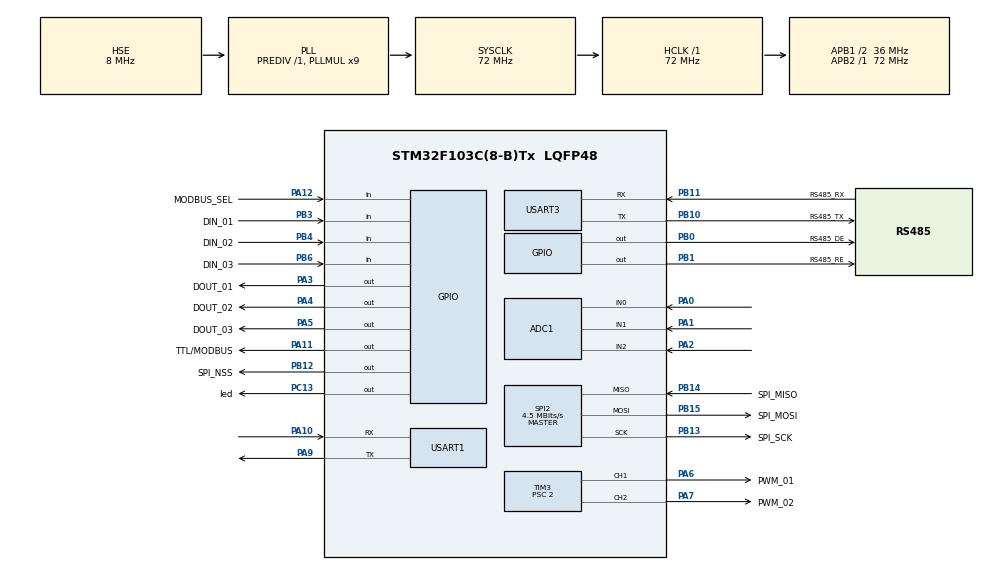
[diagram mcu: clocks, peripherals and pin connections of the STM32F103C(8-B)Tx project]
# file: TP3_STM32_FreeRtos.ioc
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ADC1.Channel-5\#ChannelRegularConversion=ADC_CHANNEL_0
ADC1.Channel-6\#ChannelRegularConversion=ADC_CHANNEL_1
ADC1.Channel-7\#ChannelRegularConversion=ADC_CHANNEL_2
ADC1.ContinuousConvMode=ENABLE
ADC1.NbrOfConversion=3
ADC1.NbrOfConversionFlag=1
ADC1.Rank-5\#ChannelRegularConversion=1
ADC1.Rank-6\#ChannelRegularConversion=2
ADC1.Rank-7\#ChannelRegularConversion=3
ADC1.SamplingTime-5\#ChannelRegularConversion=ADC_SAMPLETIME_239CYCLES_5
ADC1.SamplingTime-6\#ChannelRegularConversion=ADC_SAMPLETIME_239CYCLES_5
ADC1.SamplingTime-7\#ChannelRegularConversion=ADC_SAMPLETIME_239CYCLES_5
ADC1.master=1
Dma.ADC1.0.Direction=DMA_PERIPH_TO_MEMORY
Dma.ADC1.0.Instance=DMA1_Channel1
Dma.ADC1.0.MemDataAlignment=DMA_MDATAALIGN_HALFWORD
Dma.ADC1.0.MemInc=DMA_MINC_ENABLE
Dma.ADC1.0.Mode=DMA_CIRCULAR
Dma.ADC1.0.PeriphDataAlignment=DMA_PDATAALIGN_HALFWORD
Dma.ADC1.0.PeriphInc=DMA_PINC_DISABLE
Dma.ADC1.0.Priority=DMA_PRIORITY_LOW
Dma.Request0=ADC1
Dma.Request1=USART3_RX
Dma.USART3_RX.1.Direction=DMA_PERIPH_TO_MEMORY
Dma.USART3_RX.1.Instance=DMA1_Channel3
Dma.USART3_RX.1.MemDataAlignment=DMA_MDATAALIGN_BYTE
Dma.USART3_RX.1.MemInc=DMA_MINC_ENABLE
Dma.USART3_RX.1.Mode=DMA_CIRCULAR
Dma.USART3_RX.1.PeriphDataAlignment=DMA_PDATAALIGN_BYTE
Dma.USART3_RX.1.PeriphInc=DMA_PINC_DISABLE
Dma.USART3_RX.1.Priority=DMA_PRIORITY_HIGH
FREERTOS.HEAP_NUMBER=4
FREERTOS.Tasks01=defaultTask,-3,128,StartDefaultTask,Default,NULL,Dynamic,NULL,NULL;EnvioUart,1,128,Start_EnvioUart_Task,Default,NULL,Dynamic,NULL,NULL;ReadInputsTask,-1,128,StartReadInputsTask,Default,NULL,Dynamic,NULL,NULL;LeerADC,0,256,StartLeerADC,Default,NULL,Dynamic,NULL,NULL;LeerBMP280,-2,256,StartLeerBMP280,Default,NULL,Dynamic,NULL,NULL;LeerUART,2,384,Start_LeerUart,Default,NULL,Dynamic,NULL,NULL
FREERTOS.configTIMER_TASK_STACK_DEPTH=128
FREERTOS.configTOTAL_HEAP_SIZE=9216
FREERTOS.configUSE_NEWLIB_REENTRANT=1
FREERTOS.configUSE_TIMERS=0
Mcu.Family=STM32F1
Mcu.Name=STM32F103C(8-B)Tx
Mcu.Package=LQFP48
NVIC.DMA1_Channel1_IRQn=true\:5\:0\:false\:false\:true\:true\:false\:true\:true
NVIC.DMA1_Channel3_IRQn=true\:5\:0\:false\:false\:true\:true\:false\:true\:true
NVIC.PriorityGroup=NVIC_PRIORITYGROUP_4
NVIC.TIM1_UP_IRQn=true\:5\:0\:true\:false\:true\:true\:true\:true\:true
NVIC.TIM2_IRQn=true\:5\:0\:true\:false\:true\:true\:true\:true\:true
NVIC.TIM4_IRQn=true\:15\:0\:false\:false\:true\:false\:false\:true\:true
NVIC.TimeBase=TIM4_IRQn
NVIC.TimeBaseIP=TIM4
NVIC.USART1_IRQn=true\:5\:0\:false\:false\:true\:true\:true\:true\:true
NVIC.USART3_IRQn=true\:5\:0\:true\:false\:true\:true\:true\:true\:true
PA0-WKUP.Signal=ADCx_IN0
PA1.Signal=ADCx_IN1
PA10.Mode=Asynchronous
PA10.Signal=USART1_RX
PA11.GPIO_Label=TTL/MODBUS
PA11.Signal=GPIO_Output
PA12.GPIO_Label=MODBUS_SEL
PA12.Signal=GPIO_Input
PA13.Mode=Serial_Wire
PA13.Signal=SYS_JTMS-SWDIO
PA14.Mode=Serial_Wire
PA14.Signal=SYS_JTCK-SWCLK
PA2.Signal=ADCx_IN2
PA3.GPIO_Label=DOUT_01
PA3.GPIO_ModeDefaultOutputPP=GPIO_MODE_OUTPUT_PP
PA3.GPIO_PuPd=GPIO_NOPULL
PA3.GPIO_Speed=GPIO_SPEED_FREQ_MEDIUM
PA3.PinState=GPIO_PIN_RESET
PA3.Signal=GPIO_Output
PA4.GPIO_Label=DOUT_02
PA4.GPIO_ModeDefaultOutputPP=GPIO_MODE_OUTPUT_PP
PA4.GPIO_PuPd=GPIO_NOPULL
PA4.GPIO_Speed=GPIO_SPEED_FREQ_MEDIUM
PA4.PinState=GPIO_PIN_RESET
PA4.Signal=GPIO_Output
PA5.GPIO_Label=DOUT_03
PA5.GPIO_ModeDefaultOutputPP=GPIO_MODE_OUTPUT_PP
PA5.GPIO_PuPd=GPIO_NOPULL
PA5.GPIO_Speed=GPIO_SPEED_FREQ_MEDIUM
PA5.PinState=GPIO_PIN_RESET
PA5.Signal=GPIO_Output
PA6.GPIO_Label=PWM_01
PA6.GPIO_ModeDefaultPP=GPIO_MODE_AF_PP
PA6.GPIO_Speed=GPIO_SPEED_FREQ_MEDIUM
PA6.Signal=S_TIM3_CH1
PA7.GPIO_Label=PWM_02
PA7.GPIO_ModeDefaultPP=GPIO_MODE_AF_PP
PA7.GPIO_Speed=GPIO_SPEED_FREQ_MEDIUM
PA7.Signal=S_TIM3_CH2
PA9.Mode=Asynchronous
PA9.Signal=USART1_TX
PB0.GPIO_Label=RS485_DE
PB0.GPIO_ModeDefaultOutputPP=GPIO_MODE_OUTPUT_PP
PB0.GPIO_PuPd=GPIO_NOPULL
PB0.GPIO_Speed=GPIO_SPEED_FREQ_MEDIUM
PB0.Signal=GPIO_Output
PB1.GPIO_Label=RS485_RE
PB1.GPIO_ModeDefaultOutputPP=GPIO_MODE_OUTPUT_PP
PB1.GPIO_PuPd=GPIO_NOPULL
PB1.GPIO_Speed=GPIO_SPEED_FREQ_MEDIUM
PB1.Signal=GPIO_Output
PB10.GPIO_Label=RS485_TX
PB10.Mode=Asynchronous
PB10.Signal=USART3_TX
PB11.GPIO_Label=RS485_RX
PB11.Mode=Asynchronous
PB11.Signal=USART3_RX
PB12.GPIO_Label=SPI_NSS
PB12.GPIO_PuPd=GPIO_PULLDOWN
PB12.GPIO_Speed=GPIO_SPEED_FREQ_MEDIUM
PB12.PinState=GPIO_PIN_SET
PB12.Signal=GPIO_Output
PB13.GPIO_Label=SPI_SCK
PB13.Mode=Full_Duplex_Master
PB13.Signal=SPI2_SCK
PB14.GPIO_Label=SPI_MISO
PB14.Mode=Full_Duplex_Master
PB14.Signal=SPI2_MISO
PB15.GPIO_Label=SPI_MOSI
PB15.Mode=Full_Duplex_Master
PB15.Signal=SPI2_MOSI
PB3.GPIO_Label=DIN_01
PB3.GPIO_Mode=GPIO_MODE_INPUT
PB3.GPIO_PuPd=GPIO_PULLUP
PB3.Signal=GPIO_Input
PB4.GPIO_Label=DIN_02
PB4.GPIO_Mode=GPIO_MODE_INPUT
PB4.GPIO_PuPd=GPIO_PULLUP
PB4.Signal=GPIO_Input
PB6.GPIO_Label=DIN_03
PB6.GPIO_Mode=GPIO_MODE_INPUT
PB6.GPIO_PuPd=GPIO_PULLUP
PB6.Signal=GPIO_Input
PC13-TAMPER-RTC.GPIO_Label=led
PC13-TAMPER-RTC.Signal=GPIO_Output
PD0-OSC_IN.Mode=HSE-External-Oscillator
PD0-OSC_IN.Signal=RCC_OSC_IN
PD1-OSC_OUT.Mode=HSE-External-Oscillator
PD1-OSC_OUT.Signal=RCC_OSC_OUT
ProjectManager.HeapSize=0x200
ProjectManager.StackSize=0x400
ProjectManager.TargetToolchain=STM32CubeIDE
RCC.ADCPresc=RCC_ADCPCLK2_DIV6
RCC.AHBFreq_Value=72000000
RCC.APB1CLKDivider=RCC_HCLK_DIV2
RCC.APB1Freq_Value=36000000
RCC.APB1TimFreq_Value=72000000
RCC.APB2Freq_Value=72000000
RCC.APB2TimFreq_Value=72000000
RCC.HCLKFreq_Value=72000000
RCC.PLLMUL=RCC_PLL_MUL9
RCC.PLLSourceVirtual=RCC_PLLSOURCE_HSE
RCC.SYSCLKFreq_VALUE=72000000
RCC.SYSCLKSource=RCC_SYSCLKSOURCE_PLLCLK
RCC.USBFreq_Value=72000000
SH.ADCx_IN0.0=ADC1_IN0,IN0
SH.ADCx_IN1.0=ADC1_IN1,IN1
SH.ADCx_IN2.0=ADC1_IN2,IN2
SH.S_TIM3_CH1.0=TIM3_CH1,PWM Generation1 CH1
SH.S_TIM3_CH2.0=TIM3_CH2,PWM Generation2 CH2
SPI2.BaudRatePrescaler=SPI_BAUDRATEPRESCALER_8
SPI2.CalculateBaudRate=4.5 MBits/s
SPI2.Direction=SPI_DIRECTION_2LINES
SPI2.Mode=SPI_MODE_MASTER
SPI2.VirtualType=VM_MASTER
TIM1.Prescaler=71
TIM2.AutoReloadPreload=TIM_AUTORELOAD_PRELOAD_DISABLE
TIM2.Period=99
TIM2.Prescaler=71
TIM2.TIM_MasterOutputTrigger=TIM_TRGO_UPDATE
TIM3.AutoReloadPreload=TIM_AUTORELOAD_PRELOAD_ENABLE
TIM3.Channel-PWM\ Generation1\ CH1=TIM_CHANNEL_1
TIM3.Channel-PWM\ Generation2\ CH2=TIM_CHANNEL_2
TIM3.Period=1023
TIM3.Prescaler=2
USART1.VirtualMode=VM_ASYNC
USART3.VirtualMode=VM_ASYNC
VP_FREERTOS_VS_CMSIS_V1.Mode=CMSIS_V1
VP_SYS_VS_tim4.Mode=TIM4
VP_TIM1_VS_ClockSourceINT.Mode=Internal
VP_TIM2_VS_ClockSourceINT.Mode=Internal
VP_TIM3_VS_ClockSourceINT.Mode=Internal
board=custom

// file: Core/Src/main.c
/* USER CODE BEGIN Header */
/**
  ******************************************************************************
  * @file           : main.c
  * @brief          : Main program body
  ******************************************************************************
  * @attention
  *
  * Copyright (c) 2025 STMicroelectronics.
  * All rights reserved.
  *
  * This software is licensed under terms that can be found in the LICENSE file
  * in the root directory of this software component.
  * If no LICENSE file comes with this software, it is provided AS-IS.
  *
  ******************************************************************************
  */
/* USER CODE END Header */
#include "main.h"
#include "cmsis_os.h"
#include "adc.h"
#include "dma.h"
#include "spi.h"
#include "tim.h"
#include "usart.h"
#include "gpio.h"

/* USER CODE BEGIN Includes */
#include "comunicacion.h"
#include "stm32f1xx_hal.h"
/* USER CODE END Includes */

/* USER CODE BEGIN PV */

volatile uint16_t adc_valores[3];  // valores de los canales analógicos

/* USER CODE END PV */

void SystemClock_Config(void);
void MX_FREERTOS_Init(void);

int main(void)
{

  /* MCU Configuration--------------------------------------------------------*/

  /* Reset of all peripherals, Initializes the Flash interface and the Systick. */
  HAL_Init();

  /* Configure the system clock */
  SystemClock_Config();

  /* Initialize all configured peripherals */
  MX_GPIO_Init();
  MX_DMA_Init();
  MX_USART1_UART_Init();
  MX_TIM3_Init();
  MX_TIM2_Init();
  MX_ADC1_Init();
  MX_SPI2_Init();
  MX_USART3_UART_Init();
  MX_TIM1_Init();
  /* USER CODE BEGIN 2 */

  if(HAL_GPIO_ReadPin(MODBUS_SEL_GPIO_Port, MODBUS_SEL_Pin) == GPIO_PIN_RESET){	// SELECCIÓN DE PUERTO UART
	  modo_protocolo = MODO_TTL;
	  HAL_UART_Receive_IT(&huart1, (uint8_t *)trama_recibida_uart_ttl, LONGITUD_TRAMA_RX);
	  HAL_GPIO_WritePin(TTL_MODBUS_GPIO_Port, TTL_MODBUS_Pin, GPIO_PIN_RESET);
  }

  else{
	  modo_protocolo = MODO_MODBUS;
	  rs485_idx = 0;
	  HAL_UART_Receive_IT(&huart3, (uint8_t*)&rs485_byte, 1);
      //HAL_UART_Receive_IT(&huart3, (uint8_t *)trama_recibida_uart_rs485, LONGITUD_TRAMA_RX);
      HAL_GPIO_WritePin(TTL_MODBUS_GPIO_Port, TTL_MODBUS_Pin, GPIO_PIN_SET);
      mb_t35_restart();   // se asume actividad reciente
      busIdle = false;    // no subir DE hasta que venza t3.5
  }

  HAL_TIM_PWM_Start(&htim3, TIM_CHANNEL_1);  	// PA6. Salida PWM_01
  HAL_TIM_PWM_Start(&htim3, TIM_CHANNEL_2);  	// PA7. Salida PWM_02

  //HAL_TIM_Base_Start(&htim2);

  HAL_ADC_Start_DMA(&hadc1, (uint32_t*)adc_valores, 3);

  // HeartBeat con led integrado
  /*for(int i=0; i<8; i++)
  {
	HAL_GPIO_TogglePin(led_GPIO_Port, led_Pin);
	HAL_Delay(100);
  }

  HAL_GPIO_WritePin(led_GPIO_Port, led_Pin, GPIO_PIN_SET);
  HAL_Delay(2000);*/

  HAL_GPIO_WritePin(RS485_DE_GPIO_Port, RS485_DE_Pin, GPIO_PIN_RESET);
  HAL_GPIO_WritePin(RS485_RE_GPIO_Port, RS485_RE_Pin, GPIO_PIN_RESET);

  /* USER CODE END 2 */

  /* Call init function for freertos objects (in cmsis_os2.c) */
  MX_FREERTOS_Init();

  /* Start scheduler */
  osKernelStart();

  /* We should never get here as control is now taken by the scheduler */

  /* Infinite loop */
  while (1)
  {

  }
}

void SystemClock_Config(void)
{
  RCC_OscInitTypeDef RCC_OscInitStruct = {0};
  RCC_ClkInitTypeDef RCC_ClkInitStruct = {0};
  RCC_PeriphCLKInitTypeDef PeriphClkInit = {0};

  /** Initializes the RCC Oscillators according to the specified parameters
  * in the RCC_OscInitTypeDef structure.
  */
  RCC_OscInitStruct.OscillatorType = RCC_OSCILLATORTYPE_HSE;
  RCC_OscInitStruct.HSEState = RCC_HSE_ON;
  RCC_OscInitStruct.HSEPredivValue = RCC_HSE_PREDIV_DIV1;
  RCC_OscInitStruct.HSIState = RCC_HSI_ON;
  RCC_OscInitStruct.PLL.PLLState = RCC_PLL_ON;
  RCC_OscInitStruct.PLL.PLLSource = RCC_PLLSOURCE_HSE;
  RCC_OscInitStruct.PLL.PLLMUL = RCC_PLL_MUL9;
  if (HAL_RCC_OscConfig(&RCC_OscInitStruct) != HAL_OK)
  {
    Error_Handler();
  }

  /** Initializes the CPU, AHB and APB buses clocks
  */
  RCC_ClkInitStruct.ClockType = RCC_CLOCKTYPE_HCLK|RCC_CLOCKTYPE_SYSCLK
                              |RCC_CLOCKTYPE_PCLK1|RCC_CLOCKTYPE_PCLK2;
  RCC_ClkInitStruct.SYSCLKSource = RCC_SYSCLKSOURCE_PLLCLK;
  RCC_ClkInitStruct.AHBCLKDivider = RCC_SYSCLK_DIV1;
  RCC_ClkInitStruct.APB1CLKDivider = RCC_HCLK_DIV2;
  RCC_ClkInitStruct.APB2CLKDivider = RCC_HCLK_DIV1;

  if (HAL_RCC_ClockConfig(&RCC_ClkInitStruct, FLASH_LATENCY_2) != HAL_OK)
  {
    Error_Handler();
  }
  PeriphClkInit.PeriphClockSelection = RCC_PERIPHCLK_ADC;
  PeriphClkInit.AdcClockSelection = RCC_ADCPCLK2_DIV6;
  if (HAL_RCCEx_PeriphCLKConfig(&PeriphClkInit) != HAL_OK)
  {
    Error_Handler();
  }
}

void HAL_TIM_PeriodElapsedCallback(TIM_HandleTypeDef *htim)
{
  if (htim->Instance == TIM4)
  {
    HAL_IncTick();
  }
  /* USER CODE BEGIN Callback 1 */
  if (htim->Instance == TIM2) {		//	Descarte de comandos imparciales (se recibieron menos de 8 bytes)
     __HAL_TIM_CLEAR_IT(htim, TIM_IT_UPDATE);
     __HAL_TIM_DISABLE_IT(htim, TIM_IT_UPDATE);
     __HAL_TIM_DISABLE(htim);
     mb_t35_on_expire();
   }
  /* USER CODE END Callback 1 */
}

void Error_Handler(void)
{
  __disable_irq();
  while (1)
  {
  }
}

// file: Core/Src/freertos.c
/* USER CODE BEGIN Header */
/**
  ******************************************************************************
  * File Name          : freertos.c
  * Description        : Code for freertos applications
  ******************************************************************************
  * @attention
  *
  * Copyright (c) 2025 STMicroelectronics.
  * All rights reserved.
  *
  * This software is licensed under terms that can be found in the LICENSE file
  * in the root directory of this software component.
  * If no LICENSE file comes with this software, it is provided AS-IS.
  *
  ******************************************************************************
  */
/* USER CODE END Header */

#include "FreeRTOS.h"
#include "task.h"
#include "main.h"
#include "cmsis_os.h"

/* USER CODE BEGIN Includes */

#include "comunicacion.h"	// Recepción y validación de datos
#include "queue.h"
#include "usart.h"

#include "adc.h"
#include "spi.h"
#include "bmp280_spi.h"		// Sensor BMP280

#include <stdbool.h>
#include <string.h>

/* USER CODE END Includes */

/* USER CODE BEGIN Variables */

//uint16_t adc_valores[3];

extern TIM_HandleTypeDef htim3;

uint8_t mensaje_de_salida[LONGITUD_TRAMA_TX] = {
	      0x02,        // Byte 0 - Inicio
	      0x01, 0xA2,  // Byte 1-2
	      0x01, 0xAA,  // Byte 3-4
	      0x01, 0xA2,  // Byte 5-6
	      0x07,        // Byte 7
	      0x0F,        // Byte 8
	      0x01,		   // Byte 9
		  0x01,		   // Byte 10
		  0x00,   	   // CRC-16 LSB
		  0x00   	   // CRC-16 MSB
	  };

osMutexId transmisionMutex;

osMutexId MensajeDeSalidaMutexHandle;	// Mutex para acceder a la variable global trama desde varias tareas de forma segura
osMutexDef(MensajeDeSalida);

osMutexId  busDatosSalidasMutex;  		// Mutex para arbitraje entre uart TTL y RS485

QueueHandle_t UART_RX_Queue;			// Cola para puerto UART API FreeRTOS

/* USER CODE END Variables */
osThreadId defaultTaskHandle;
osThreadId EnvioUartHandle;
osThreadId ReadInputsTaskHandle;
osThreadId LeerADCHandle;
osThreadId LeerBMP280Handle;
osThreadId LeerUARTHandle;

void StartDefaultTask(void const * argument);
void Start_EnvioUart_Task(void const * argument);
void StartReadInputsTask(void const * argument);
void StartLeerADC(void const * argument);
void StartLeerBMP280(void const * argument);
void Start_LeerUart(void const * argument);

void MX_FREERTOS_Init(void); /* (MISRA C 2004 rule 8.1) */

/* GetIdleTaskMemory prototype (linked to static allocation support) */
void vApplicationGetIdleTaskMemory( StaticTask_t **ppxIdleTaskTCBBuffer, StackType_t **ppxIdleTaskStackBuffer, uint32_t *pulIdleTaskStackSize );

/* USER CODE BEGIN GET_IDLE_TASK_MEMORY */
static StaticTask_t xIdleTaskTCBBuffer;
static StackType_t xIdleStack[configMINIMAL_STACK_SIZE];

void vApplicationGetIdleTaskMemory( StaticTask_t **ppxIdleTaskTCBBuffer, StackType_t **ppxIdleTaskStackBuffer, uint32_t *pulIdleTaskStackSize )
{
  *ppxIdleTaskTCBBuffer = &xIdleTaskTCBBuffer;
  *ppxIdleTaskStackBuffer = &xIdleStack[0];
  *pulIdleTaskStackSize = configMINIMAL_STACK_SIZE;
  /* place for user code */
}
/* USER CODE END GET_IDLE_TASK_MEMORY */

void MX_FREERTOS_Init(void) {

  /* USER CODE BEGIN RTOS_MUTEX */
  /* add mutexes, ... */

	osMutexDef(transmisionMutex);
	transmisionMutex = osMutexCreate(osMutex(transmisionMutex));			// Mutex para UART

	MensajeDeSalidaMutexHandle = osMutexCreate(osMutex(MensajeDeSalida)); 	// Mutex para mensaje_de_salida[]

	osMutexDef(busDatosSalidasMutex);
	busDatosSalidasMutex  = osMutexCreate(osMutex(busDatosSalidasMutex));	// Mutex para UART

	UART_RX_Queue = xQueueCreate( 64, LONGITUD_TRAMA_RX);
	if (UART_RX_Queue == NULL)
	{
		HAL_GPIO_WritePin(led_GPIO_Port, led_Pin, GPIO_PIN_RESET);
	}

  /* USER CODE END RTOS_MUTEX */

  /* Create the thread(s) */
  /* definition and creation of defaultTask */
  osThreadDef(defaultTask, StartDefaultTask, osPriorityIdle, 0, 128);
  defaultTaskHandle = osThreadCreate(osThread(defaultTask), NULL);

  /* definition and creation of EnvioUart */
  osThreadDef(EnvioUart, Start_EnvioUart_Task, osPriorityAboveNormal, 0, 128);
  EnvioUartHandle = osThreadCreate(osThread(EnvioUart), NULL);

  /* definition and creation of ReadInputsTask */
  osThreadDef(ReadInputsTask, StartReadInputsTask, osPriorityBelowNormal, 0, 128);
  ReadInputsTaskHandle = osThreadCreate(osThread(ReadInputsTask), NULL);

  /* definition and creation of LeerADC */
  osThreadDef(LeerADC, StartLeerADC, osPriorityNormal, 0, 256);
  LeerADCHandle = osThreadCreate(osThread(LeerADC), NULL);

  /* definition and creation of LeerBMP280 */
  osThreadDef(LeerBMP280, StartLeerBMP280, osPriorityLow, 0, 256);
  LeerBMP280Handle = osThreadCreate(osThread(LeerBMP280), NULL);

  /* definition and creation of LeerUART */
  osThreadDef(LeerUART, Start_LeerUart, osPriorityHigh, 0, 384);
  LeerUARTHandle = osThreadCreate(osThread(LeerUART), NULL);

}

void StartDefaultTask(void const * argument)
{
  for(;;)
  {
	  osDelay(1);
  }
}

void Start_EnvioUart_Task(void const * argument)
{
  /* USER CODE BEGIN Start_EnvioUart_Task */
  /* Infinite loop */

	HAL_StatusTypeDef status_uart_ttl = HAL_ERROR, status_uart_rs485 = HAL_ERROR;

	uint8_t trama[LONGITUD_TRAMA_TX] = {0};
	uint8_t i, ReintentarEnvio = 0;

  for(;;)
  {
	  osMutexWait(MensajeDeSalidaMutexHandle, osWaitForever);	// Permitir lectura de la variable mensaje_de_salida

	  for(i=0; i< LONGITUD_DATOS_TX; i++)
			trama[i] = mensaje_de_salida[i];

	  uint16_t crc = calcular_crc16(trama, LONGITUD_DATOS_TX); // 10 = HEADER + 9 bytes útiles
	  trama[POS_CRC_LSB_TX] = crc & 0xFF;        				// LSB
	  trama[POS_CRC_MSB_TX] = (crc >> 8) & 0xFF; 				// MSB

	  osMutexRelease(MensajeDeSalidaMutexHandle);

	  // Envío de los datos. Número de reintentos automáticos = 10
	  osMutexWait(transmisionMutex, osWaitForever);

	  // UART TTL
	  if( modo_protocolo == MODO_TTL){
		  for (ReintentarEnvio = 0; ReintentarEnvio < 10; ReintentarEnvio++){
			  status_uart_ttl = HAL_UART_Transmit(&huart1, trama, LONGITUD_TRAMA_TX, CONTROL_TIMEOUT_MS);
			  if (status_uart_ttl  == HAL_OK)
				  break;
		  }
	  }
	  else {   // MODBUS

	      __HAL_UART_CLEAR_FLAG(&huart3, UART_FLAG_TC);  // limpia cualquier TC anterior

	      for (ReintentarEnvio = 0; ReintentarEnvio < 5; ReintentarEnvio++)  {

	    	  status_uart_rs485 = RS485_SendFrame(trama, LONGITUD_TRAMA_TX, 50);

	    	  if (status_uart_rs485 == HAL_OK)
	          {

	              break;  // transmisión exitosa
	          }

	          // Leer SR y DR para limpiar posibles residuos (eco) en RX
	          (void) huart3.Instance->SR;
	          (void) huart3.Instance->DR;
	      }
	  }

		status_uart_ttl = status_uart_rs485 = HAL_ERROR;
		osMutexRelease(transmisionMutex);

    osDelay(200);
  }
  /* USER CODE END Start_EnvioUart_Task */
}

void StartReadInputsTask(void const * argument)
{
  /* USER CODE BEGIN StartReadInputsTask */
	/* Infinite loop */
	for(;;)
	{
		osMutexWait(MensajeDeSalidaMutexHandle, osWaitForever); 	// Permitir escritura de la variable mensaje_de_salida

		mensaje_de_salida [7] = 0;
		mensaje_de_salida [7] |= !HAL_GPIO_ReadPin(DIN_01_GPIO_Port, DIN_01_Pin);
		mensaje_de_salida [7] |= !HAL_GPIO_ReadPin(DIN_02_GPIO_Port, DIN_02_Pin) << 1;
		mensaje_de_salida [7] |= !HAL_GPIO_ReadPin(DIN_03_GPIO_Port, DIN_03_Pin) << 2;

		osMutexRelease(MensajeDeSalidaMutexHandle);
		osDelay(250);
	}
  /* USER CODE END StartReadInputsTask */
}

void StartLeerADC(void const * argument)
{
  /* USER CODE BEGIN StartLeerADC */
  /* Infinite loop */

	for (;;)
	{
		osMutexWait(MensajeDeSalidaMutexHandle, osWaitForever);			// Protección de variable compartida

		for (int i = 0; i < 3; i++)
		{									// Carga de valores
			mensaje_de_salida[2*i + 1] = adc_valores[i] & 0xFF;
		    mensaje_de_salida[2*i + 2] = (adc_valores[i] >> 8) & 0xFF;
		}

		osMutexRelease(MensajeDeSalidaMutexHandle);
		osDelay(50);
	}
  /* USER CODE END StartLeerADC */
}

void StartLeerBMP280(void const * argument)
{
  /* USER CODE BEGIN StartLeerBMP280 */
	/* Infinite loop */
	float temperatura;
	float presion;
	uint32_t presion_entero;
	uint8_t temp_u8 = 0;

	BMP280_SPI_Init(&hspi2, SPI_NSS_GPIO_Port, SPI_NSS_Pin);

	for(;;)
	{
		temperatura = BMP280_ReadTemperature();
		presion = BMP280_ReadPressure();
		presion_entero = (uint32_t)presion;

		osMutexWait(MensajeDeSalidaMutexHandle, osWaitForever);			// Protección de variable compartida

		temp_u8 = (uint8_t)temperatura;
		mensaje_de_salida[8]  = temp_u8;
		mensaje_de_salida[9] = (presion_entero >> 8) & 0xFF;
		mensaje_de_salida[10] = presion_entero & 0xFF;

		osMutexRelease(MensajeDeSalidaMutexHandle);

		osDelay(1000);
	}
  /* USER CODE END StartLeerBMP280 */
}

void Start_LeerUart(void const * argument)
{
  /* USER CODE BEGIN Start_LeerUart */

	//uint8_t  *frame, *local;
	//uint32_t ptr;
	uint8_t frame[LONGITUD_TRAMA_RX];

	    for (;;) {

	    	/*while (xQueueReceive(UART_RX_Queue, &ptr, portMAX_DELAY) == pdPASS)
	    	{
	    		frame = (uint8_t*) ptr;

	    		uint16_t crc_recv = frame[POS_CRC_LSB_RX] | (frame[POS_CRC_MSB_RX] << 8);
	    		uint16_t crc_calc = calcular_crc16(frame, LONGITUD_DATOS_RX);

	    	    if (crc_recv == crc_calc)
	    	    {
	    	    	memcpy((void*)active_frame, frame, LONGITUD_TRAMA_RX );
	    	        local = (uint8_t*)active_frame;

	    	        HAL_GPIO_TogglePin(led_GPIO_Port, led_Pin);
	    	        HAL_GPIO_TogglePin(DOUT_02_GPIO_Port, DOUT_02_Pin);

	    	        // Salidas digitales
	    	        //HAL_GPIO_WritePin(DOUT_01_GPIO_Port, DOUT_01_Pin, (local[1] & 0x01) ? GPIO_PIN_SET : GPIO_PIN_RESET);
	    	        //HAL_GPIO_WritePin(DOUT_02_GPIO_Port, DOUT_02_Pin, (local[1] & 0x02) ? GPIO_PIN_SET : GPIO_PIN_RESET);
	    	        HAL_GPIO_WritePin(DOUT_03_GPIO_Port, DOUT_03_Pin, (local[1] & 0x04) ? GPIO_PIN_SET : GPIO_PIN_RESET);

	    	        // Salidas PWM
	    	        __HAL_TIM_SET_COMPARE(&htim3, TIM_CHANNEL_1, local[2] | (local[3] << 8));
	    	        __HAL_TIM_SET_COMPARE(&htim3, TIM_CHANNEL_2, local[4] | (local[5] << 8));

	    	        // 🧹 Limpiar la cola de cualquier basura anterior
	    	    }

	    	    while (xQueueReceive(UART_RX_Queue, &ptr, 0) == pdPASS);
	    	    break;
	    	}

	    	osDelay(1);*/

	    	if (xQueueReceive(UART_RX_Queue, frame, portMAX_DELAY) == pdPASS) {
	    	        do {
	    	            uint16_t crc_recv = frame[POS_CRC_LSB_RX] | (frame[POS_CRC_MSB_RX] << 8);
	    	            uint16_t crc_calc = calcular_crc16(frame, LONGITUD_DATOS_RX);

	    	            if (crc_recv == crc_calc) {
	    	                // (opcional) active_frame para consumo coherente:
	    	                memcpy((void*)active_frame, frame, LONGITUD_TRAMA_RX);
	    	                uint8_t *local = (uint8_t*)active_frame;

	    	                HAL_GPIO_TogglePin(led_GPIO_Port, led_Pin);

	    	                HAL_GPIO_WritePin(DOUT_01_GPIO_Port, DOUT_01_Pin, (local[1] & 0x01) ? GPIO_PIN_SET : GPIO_PIN_RESET);
	    	                HAL_GPIO_WritePin(DOUT_02_GPIO_Port, DOUT_02_Pin, (local[1] & 0x02) ? GPIO_PIN_SET : GPIO_PIN_RESET);
	    	                HAL_GPIO_WritePin(DOUT_03_GPIO_Port, DOUT_03_Pin, (local[1] & 0x04) ? GPIO_PIN_SET : GPIO_PIN_RESET);

	    	                __HAL_TIM_SET_COMPARE(&htim3, TIM_CHANNEL_1, local[2] | (local[3] << 8));
	    	                __HAL_TIM_SET_COMPARE(&htim3, TIM_CHANNEL_2, local[4] | (local[5] << 8));
	    	            }

	    	            //else
	    	            	//HAL_GPIO_TogglePin(DOUT_02_GPIO_Port, DOUT_02_Pin);

	    	        } while (xQueueReceive(UART_RX_Queue, frame, 0) == pdPASS); // procesá todos
	    	    }
	    	    osDelay(1);
	    }

  /* USER CODE END Start_LeerUart */
}
